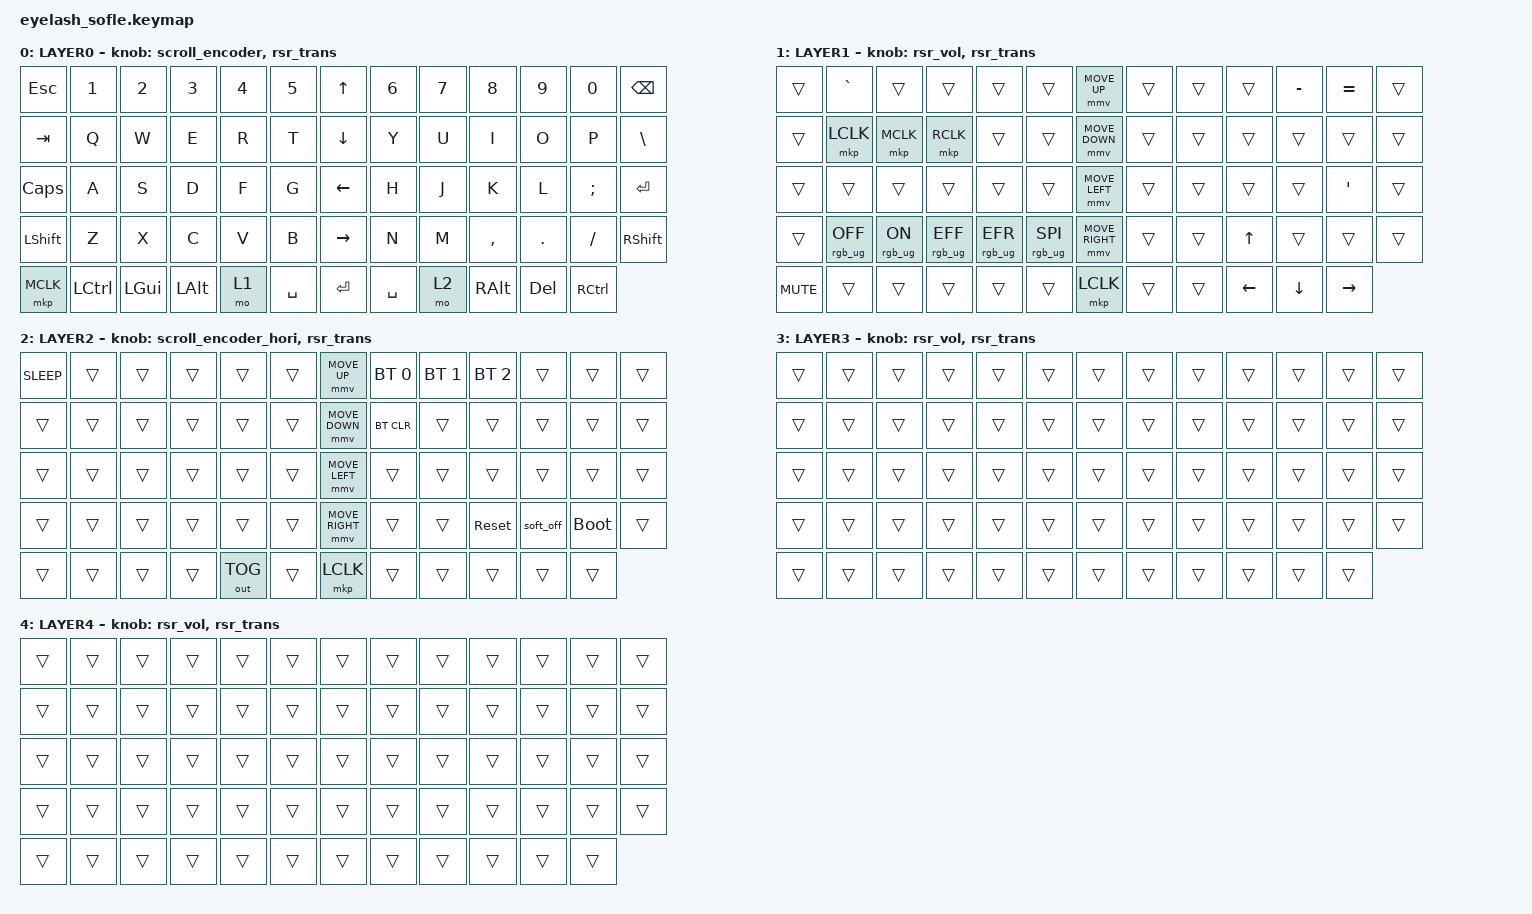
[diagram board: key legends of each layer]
#define ZMK_POINTING_DEFAULT_MOVE_VAL 1200  // 600
#define ZMK_POINTING_DEFAULT_SCRL_VAL 170   // 170

#include <input/processors.dtsi>
#include <zephyr/dt-bindings/input/input-event-codes.h>
#include <behaviors.dtsi>
#include <behaviors/runtime-sensor-rotate.dtsi>
#include <dt-bindings/zmk/bt.h>
#include <dt-bindings/zmk/keys.h>
#include <dt-bindings/zmk/outputs.h>
#include <dt-bindings/zmk/pointing.h>
#include <dt-bindings/zmk/rgb.h>

&mmv_input_listener { input-processors = <&zip_xy_scaler 2 1>; };

&msc_input_listener { input-processors = <&zip_scroll_scaler 8 1>; };

&msc {
    acceleration-exponent = <1>;      // 0
    time-to-max-speed-ms = <100>;       // 300
    delay-ms = <0>;                   // 0
};

&mmv {
    time-to-max-speed-ms = <500>;
    acceleration-exponent = <1>;
    trigger-period-ms = <16>;
};

&soft_off { hold-time-ms = <2000>; };

/ {
    scroll_encoder: scroll_encoder {
        compatible = "zmk,behavior-sensor-rotate";
        #sensor-binding-cells = <0>;
        bindings = <&msc SCRL_DOWN>, <&msc SCRL_UP>;

        tap-ms = <20>;
    };

    behaviors {
        rsr_vol: rsr_vol {
            compatible = "zmk,behavior-runtime-sensor-rotate";
            #sensor-binding-cells = <0>;
            tap-ms = <5>;
            cw-binding = <&kp C_VOL_UP>;
            ccw-binding = <&kp C_VOL_DN>;
        };

        rsr_trans: rsr_trans {
            compatible = "zmk,behavior-runtime-sensor-rotate";
            #sensor-binding-cells = <0>;
            tap-ms = <0>;
        };

        /* 新增：用於 Windows 的高靈敏度水平滾動行為 */
        scroll_encoder_hori: scroll_encoder_hori {
            compatible = "zmk,behavior-sensor-rotate";
            #sensor-binding-cells = <0>;
            bindings = <&msc SCRL_RIGHT>, <&msc SCRL_LEFT>;

            tap-ms = <20>; /* 20ms 的超短延時能確保 Windows 完美識別左右滾動 */
            label = "SCROLL_ENCODER_HORI";
        };
    };

    combos {
        compatible = "zmk,combos";

        softoff {
            bindings = <&soft_off>;
            key-positions = <14 28 40>;
        };
    };

    macros {
        SHIFT_MCLK: SHIFT_MCLK {
            compatible = "zmk,behavior-macro";
            #binding-cells = <0>;
            bindings =
                <&macro_press>,
                <&kp LEFT_SHIFT>,
                <&macro_press>,
                <&mkp MB3>,
                <&macro_pause_for_release>,
                <&macro_release>,
                <&kp LEFT_SHIFT &mkp MB3>;

            label = "SHIFT_MCLK";
        };
    };

    keymap {
        compatible = "zmk,keymap";

        layer0 {
            bindings = <
&kp ESC    &kp N1     &kp N2        &kp N3        &kp N4  &kp N5       &kp UP_ARROW     &kp N6     &kp N7  &kp N8         &kp N9           &kp N0     &kp BACKSPACE
&kp TAB    &kp Q      &kp W         &kp E         &kp R   &kp T        &kp DOWN_ARROW   &kp Y      &kp U   &kp I          &kp O            &kp P      &kp BSLH
&kp CAPS   &kp A      &kp S         &kp D         &kp F   &kp G        &kp LEFT_ARROW   &kp H      &kp J   &kp K          &kp L            &kp SEMI   &kp ENTER
&kp LSHFT  &kp Z      &kp X         &kp C         &kp V   &kp B        &kp RIGHT_ARROW  &kp N      &kp M   &kp COMMA      &kp DOT          &kp FSLH   &kp RSHIFT
&mkp MCLK  &kp LCTRL  &kp LEFT_GUI  &kp LEFT_ALT  &mo 1   &kp SPACE    &kp ENTER        &kp SPACE  &mo 2   &kp RIGHT_ALT  &kp DELETE  &kp RCTRL
            >;

            sensor-bindings = <&scroll_encoder>, <&rsr_trans>; /* 已修復：添加了遺漏的 & 符號與逗號 */
            display-name = "LAYER0";
        };

        layer_1 {
            bindings = <
&trans      &kp GRAVE        &trans          &trans          &trans           &trans             &mmv MOVE_UP     &trans  &trans  &trans    &kp MINUS  &kp EQUAL  &trans
&trans      &mkp LCLK        &mkp MCLK       &mkp RCLK       &trans           &trans             &mmv MOVE_DOWN   &trans  &trans  &trans    &trans     &trans     &trans
&trans      &trans           &trans          &trans          &trans           &trans             &mmv MOVE_LEFT   &trans  &trans  &trans    &trans     &kp SINGLE_QUOTE     &trans
&trans      &rgb_ug RGB_OFF  &rgb_ug RGB_ON  &rgb_ug RGB_EFF &rgb_ug RGB_EFR  &rgb_ug RGB_SPI    &mmv MOVE_RIGHT  &trans  &trans  &kp UP    &trans     &trans     &trans
&kp C_MUTE  &trans           &trans          &trans          &trans           &trans             &mkp LCLK        &trans  &trans  &kp LEFT  &kp DOWN   &kp RIGHT
            >;

            sensor-bindings = <&rsr_vol>, <&rsr_trans>; /* 已修復：添加了遺漏的逗號 */
            display-name = "LAYER1";
        };

        layer_2 {
            bindings = <
&kp C_SLEEP  &trans  &trans  &trans  &trans        &trans    &mmv MOVE_UP     &bt BT_SEL 0  &bt BT_SEL 1  &bt BT_SEL 2  &trans     &trans       &trans
&trans       &trans  &trans  &trans  &trans        &trans    &mmv MOVE_DOWN   &bt BT_CLR    &trans        &trans        &trans     &trans       &trans
&trans       &trans  &trans  &trans  &trans        &trans    &mmv MOVE_LEFT   &trans        &trans        &trans        &trans     &trans       &trans
&trans       &trans  &trans  &trans  &trans        &trans    &mmv MOVE_RIGHT  &trans        &trans        &sys_reset    &soft_off  &bootloader  &trans
&trans       &trans  &trans  &trans  &out OUT_TOG  &trans    &mkp LCLK        &trans        &trans        &trans        &trans     &trans
            >;

            display-name = "LAYER2";
            sensor-bindings = <&scroll_encoder_hori>, <&rsr_trans>; /* 已更換：在此處使用全新的水平滾動行為，並補上了 & 符號與逗號 */
        };

        layer_3 {
            bindings = <
&trans  &trans  &trans  &trans  &trans  &trans    &trans  &trans  &trans  &trans  &trans  &trans  &trans
&trans  &trans  &trans  &trans  &trans  &trans    &trans  &trans  &trans  &trans  &trans  &trans  &trans
&trans  &trans  &trans  &trans  &trans  &trans    &trans  &trans  &trans  &trans  &trans  &trans  &trans
&trans  &trans  &trans  &trans  &trans  &trans    &trans  &trans  &trans  &trans  &trans  &trans  &trans
&trans  &trans  &trans  &trans  &trans  &trans    &trans  &trans  &trans  &trans  &trans  &trans
            >;

            display-name = "LAYER3";
            sensor-bindings = <&rsr_vol>, <&rsr_trans>; /* 已修復：添加了遺漏的逗號 */
        };

        layer_4 {
            bindings = <
&trans  &trans  &trans  &trans  &trans  &trans    &trans  &trans  &trans  &trans  &trans  &trans  &trans
&trans  &trans  &trans  &trans  &trans  &trans    &trans  &trans  &trans  &trans  &trans  &trans  &trans
&trans  &trans  &trans  &trans  &trans  &trans    &trans  &trans  &trans  &trans  &trans  &trans  &trans
&trans  &trans  &trans  &trans  &trans  &trans    &trans  &trans  &trans  &trans  &trans  &trans  &trans
&trans  &trans  &trans  &trans  &trans  &trans    &trans  &trans  &trans  &trans  &trans  &trans
            >;

            display-name = "LAYER4";
            sensor-bindings = <&rsr_vol>, <&rsr_trans>; /* 已修復：添加了遺漏的逗號 */
        };
    };
};
